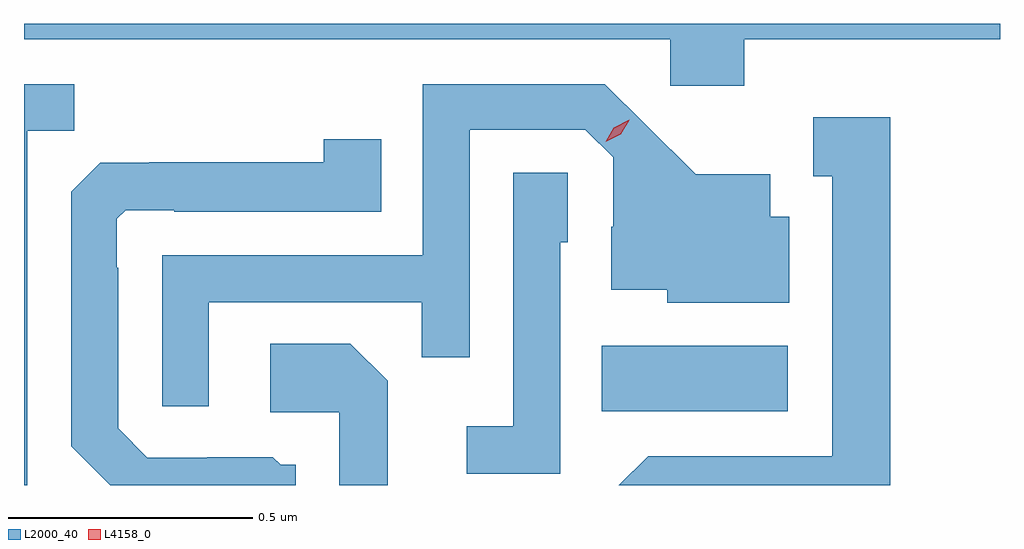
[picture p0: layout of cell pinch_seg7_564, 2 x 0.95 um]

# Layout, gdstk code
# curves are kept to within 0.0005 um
import gdstk
lib = gdstk.Library(unit=1e-6, precision=1e-09)
def R(c, l, rs):  # rectangles x0, y0, x1, y1
    for r in rs: c.add(gdstk.rectangle(r[:2], r[2:], *l))
def P(c, l, *ps):  # polygons
    for p in ps: c.add(gdstk.Polygon(p, *l))
L2000_40 = (2000, 40)
L4158_0 = (4158, 0)

pinch_seg7_564 = lib.new_cell('pinch_seg7_564')
R(pinch_seg7_564, L2000_40, [(147.136,1081.106,147.517,1081.24)])
P(pinch_seg7_564, L2000_40, [(147.428,1081.868),(147.952,1081.868),(147.952,1081.9),(145.952,1081.9),(145.952,1081.868),(147.276,1081.868),(147.276,1081.773),(147.428,1081.773)],
  [(146.331,1081.329),(146.767,1081.329),(146.767,1081.216),(146.865,1081.216),(146.865,1081.683),(147.102,1081.683),(147.159,1081.626),(147.159,1081.484),(147.155,1081.484),(147.155,1081.355),(147.27,1081.355),(147.27,1081.328),(147.52,1081.328),(147.52,1081.504),(147.481,1081.504),(147.481,1081.591),(147.329,1081.591),(147.142,1081.776),(146.769,1081.776),(146.769,1081.425),(146.235,1081.425),(146.235,1081.116),(146.331,1081.116)],
  [(145.959,1081.681),(146.055,1081.681),(146.055,1081.776),(145.952,1081.776),(145.952,1080.954),(145.959,1080.954)],
  [(147.727,1081.708),(147.569,1081.708),(147.569,1081.587),(147.608,1081.587),(147.608,1081.014),(147.231,1081.014),(147.171,1080.954),(147.727,1080.954)],
  [(146.509,1080.996),(146.478,1080.996),(146.462,1081.012),(146.328,1081.012),(146.328,1081.011),(146.205,1081.011),(146.145,1081.071),(146.145,1081.4),(146.142,1081.4),(146.142,1081.5),(146.16,1081.518),(146.26,1081.518),(146.26,1081.515),(146.684,1081.515),(146.684,1081.663),(146.566,1081.663),(146.566,1081.616),(146.209,1081.616),(146.209,1081.615),(146.108,1081.615),(146.049,1081.556),(146.049,1081.034),(146.129,1080.954),(146.509,1080.954)],
  [(147.051,1081.452),(147.066,1081.452),(147.066,1081.595),(146.955,1081.595),(146.955,1081.075),(146.859,1081.075),(146.859,1080.978),(147.051,1080.978)],
  [(146.697,1081.168),(146.621,1081.244),(146.457,1081.244),(146.457,1081.104),(146.598,1081.104),(146.598,1080.954),(146.697,1080.954)])
P(pinch_seg7_564, L4158_0, [(147.144,1081.658),(147.144,1081.658),(147.161,1081.687),(147.192,1081.703),(147.192,1081.703),(147.192,1081.702),(147.175,1081.673),(147.144,1081.658)])

lib.write_gds('pinch_seg7_564.gds')
